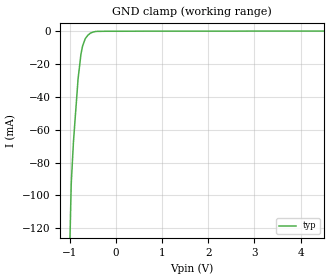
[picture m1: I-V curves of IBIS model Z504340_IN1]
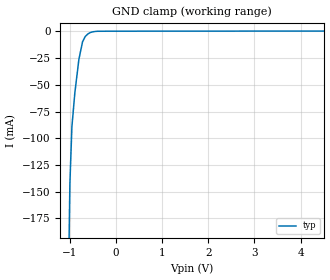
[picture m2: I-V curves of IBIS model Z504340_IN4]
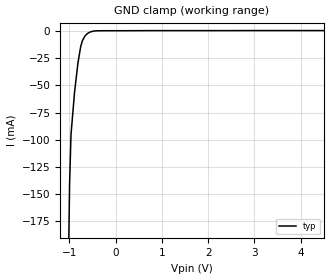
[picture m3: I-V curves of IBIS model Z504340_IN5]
| YOU ARE ONLY AUTHORIZED TO USE THIS SOFTWARE
| ACCORDING TO LICENSOR'S LICENSE RESTRICTIONS.
[IBIS Ver] 3.1
[File Name] mc74lcx16374dt.ibs
[File Rev] 2.0
[Source] Measured and created by ICX Technology
[Date] Friday 7/14/00 9:08:12 AM
[Copyright]
| (C) COPYRIGHT 1993-2000
| MENTOR GRAPHICS CORPORATION
| ICX STANDARD LIBRARY, ICX PROJECT MODELING,
| ICX CUSTOM MODELING, ICX VENDOR MODEL
| ALL RIGHTS RESERVED.
| THE FOLLOWING ARE TRADEMARKS OR SERVICE MARKS OF
| MENTOR GRAPHICS CORPORATION:ICX (R), ICX STANDARD
| LIBRARY(R), ICX PROJECT MODELING(R), ICX CUSTOM
| MODELING(R), qualityIBIS(TM), MODELVIEWER(TM),
| AND MODELEDITOR(TM)
| ALL COPIES OF SOFTWARE, INCLUDING BUT NOT LIMITED TO
| ANY MODIFICATIONS, ENHANCEMENTS OR DERIVATIVE WORKS,
| MUST CONTAIN ALL MENTOR GRAPHICS CORPORATION'S
| NOTICES AND LEGENDS, INCLUDING THOSE EMBEDDED IN
| SOFTWARE AND THOSE AFFIXED TO SOFTWARE MEDIUM
| AND CONTAINER, AS RECEIVED FROM MENTOR GRAPHICS
| CORPORATION.
|  ZAP Model Builder 2.7
[Component] MC74LCX16374DT
[Manufacturer] OnSemiconductor
[Package]
| variable   typ   min   max
R_pkg  .153ohms NA NA
L_pkg  2.946nH NA NA
C_pkg  .275pF NA NA
[Pin] signal_name  model_name  R_pin  L_pin C_pin
1 _1OE Z504340_IN1 .171 5.2n .49p
2 1Q1 Z504340_TRI2 .168 4.65n .44p
3 1Q2 Z504340_TRI2 .164 4.14n .39p
4 GND GND .161 3.64n .33p
5 1Q3 Z504340_TRI2 .158 3.17n .28p
6 1Q4 Z504340_TRI2 .155 2.63n .23p
7 VCC POWER .152 2.39n .22p
8 1Q5 Z504340_TRI2 .148 2.16n .21p
9 1Q6 Z504340_TRI2 .145 2.0n .2p
10 GND GND .142 1.87n .18p
11 1Q7 Z504340_TRI2 .139 1.75n .17p
12 1Q8 Z504340_TRI2 .136 1.75n .16p
13 2Q1 Z504340_TRI3 .136 1.75n .16p
14 2Q2 Z504340_TRI3 .139 1.75n .17p
15 GND GND .142 1.87n .18p
16 2Q3 Z504340_TRI3 .145 2.0n .2p
17 2Q4 Z504340_TRI3 .148 2.16n .21p
18 VCC POWER .152 2.39n .22p
19 2Q5 Z504340_TRI3 .155 2.63n .23p
20 2Q6 Z504340_TRI3 .158 3.17n .28p
21 GND GND .161 3.64n .33p
22 2Q7 Z504340_TRI3 .164 4.14n .39p
23 2Q8 Z504340_TRI3 .168 4.65n .44p
24 _2OE Z504340_IN4 .171 5.2n .49p
25 2CLK Z504340_IN5 .171 5.2n .49p
26 2D8 Z504340_IN6 .168 4.65n .44p
27 2D7 Z504340_IN6 .164 4.14n .39p
28 GND GND .161 3.64n .33p
29 2D6 Z504340_IN6 .158 3.17n .28p
30 2D5 Z504340_IN6 .155 2.63n .23p
31 VCC POWER .152 2.39n .22p
32 2D4 Z504340_IN6 .148 2.16n .21p
33 2D3 Z504340_IN6 .145 2.0n .2p
34 GND GND .142 1.87n .18p
35 2D2 Z504340_IN6 .139 1.75n .17p
36 2D1 Z504340_IN6 .136 1.75n .16p
37 1D8 Z504340_IN7 .136 1.75n .16p
38 1D7 Z504340_IN7 .139 1.75n .17p
39 GND GND .142 1.87n .18p
40 1D6 Z504340_IN7 .145 2.0n .2p
41 1D5 Z504340_IN7 .148 2.16n .21p
42 VCC POWER .152 2.39n .22p
43 1D4 Z504340_IN7 .155 2.63n .23p
44 1D3 Z504340_IN7 .158 3.17n .28p
45 GND GND .161 3.64n .33p
46 1D2 Z504340_IN7 .164 4.14n .39p
47 1D1 Z504340_IN7 .168 4.65n .44p
48 1CLK Z504340_IN8 .171 5.2n .49p
| Models and submodels in the file (8): Z504340_IN1 (Input), Z504340_IN4 (Input), Z504340_IN5 (Input), Z504340_IN6 (Input), Z504340_IN7 (Input), Z504340_IN8 (Input), Z504340_TRI2 (3-state), Z504340_TRI3 (3-state)
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| (C) COPYRIGHT 1993-2000
| MENTOR GRAPHICS CORPORATION
| ICX STANDARD LIBRARY, ICX PROJECT MODELING,
| ICX CUSTOM MODELING, ICX VENDOR MODEL
| ALL RIGHTS RESERVED.
| THE FOLLOWING ARE TRADEMARKS OR SERVICE MARKS OF
| MENTOR GRAPHICS CORPORATION:ICX (R), ICX STANDARD
| LIBRARY(R), ICX PROJECT MODELING(R), ICX CUSTOM
| MODELING(R), qualityIBIS(TM), MODELVIEWER(TM),
| AND MODELEDITOR(TM)
| ALL COPIES OF SOFTWARE, INCLUDING BUT NOT LIMITED TO
| ANY MODIFICATIONS, ENHANCEMENTS OR DERIVATIVE WORKS,
| MUST CONTAIN ALL MENTOR GRAPHICS CORPORATION'S
| NOTICES AND LEGENDS, INCLUDING THOSE EMBEDDED IN
| SOFTWARE AND THOSE AFFIXED TO SOFTWARE MEDIUM
| AND CONTAINER, AS RECEIVED FROM MENTOR GRAPHICS
| CORPORATION.
| Model Application Version 1.89 2/18/99.
[Model] Z504340_IN1
Model_type Input
Vinl = 800.0mV
Vinh = 2.000V
C_comp 4.000pF NA NA
| variable typ   min   max
[Voltage Range] 3.300V NA NA
[GND Clamp Reference] 0.000V NA NA
[POWER Clamp Reference] 3.300V NA NA
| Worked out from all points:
|   GND clamp passes 1 mA (typ) near -0.55 V on its own axis
[GND Clamp]
-3.3V     -2.139A    NA         NA
-1.002V   -136.5mA   NA         NA
-966.8mV  -93.19mA   NA         NA
-917.9mV  -67.07mA   NA         NA
-818.2mV  -28.86mA   NA         NA
-756.7mV  -14mA      NA         NA
-722.7mV  -9.064mA   NA         NA
-664.1mV  -4.477mA   NA         NA
-550.8mV  -1.012mA   NA         NA
-429.7mV  20.1uA     NA         NA
-214.8mV  122.2uA    NA         NA
6.6V      226.2uA    NA         NA
[POWER Clamp]
-3.3V     0A         NA         NA
6.6V      0A         NA         NA
| (C) COPYRIGHT 1993-2000
| MENTOR GRAPHICS CORPORATION
| ICX STANDARD LIBRARY, ICX PROJECT MODELING,
| ICX CUSTOM MODELING, ICX VENDOR MODEL
| ALL RIGHTS RESERVED.
| THE FOLLOWING ARE TRADEMARKS OR SERVICE MARKS OF
| MENTOR GRAPHICS CORPORATION:ICX (R), ICX STANDARD
| LIBRARY(R), ICX PROJECT MODELING(R), ICX CUSTOM
| MODELING(R), qualityIBIS(TM), MODELVIEWER(TM),
| AND MODELEDITOR(TM)
| ALL COPIES OF SOFTWARE, INCLUDING BUT NOT LIMITED TO
| ANY MODIFICATIONS, ENHANCEMENTS OR DERIVATIVE WORKS,
| MUST CONTAIN ALL MENTOR GRAPHICS CORPORATION'S
| NOTICES AND LEGENDS, INCLUDING THOSE EMBEDDED IN
| SOFTWARE AND THOSE AFFIXED TO SOFTWARE MEDIUM
| AND CONTAINER, AS RECEIVED FROM MENTOR GRAPHICS
| CORPORATION.
| Model Application Version 1.89 2/18/99.
[Model] Z504340_IN4
Model_type Input
Vinl = 800.0mV
Vinh = 2.000V
C_comp 4.000pF NA NA
| variable typ   min   max
[Voltage Range] 3.300V NA NA
[GND Clamp Reference] 0.000V NA NA
[POWER Clamp Reference] 3.300V NA NA
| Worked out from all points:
|   GND clamp passes 1 mA (typ) near -0.55 V on its own axis
[GND Clamp]
-3.3V     -2.081A    NA         NA
-1.041V   -279.3mA   NA         NA
-995.9mV  -142.9mA   NA         NA
-952.1mV  -89.21mA   NA         NA
-888.6mV  -57.61mA   NA         NA
-800.7mV  -26.18mA   NA         NA
-722.1mV  -9.854mA   NA         NA
-663.8mV  -4.868mA   NA         NA
-550.5mV  -1.054mA   NA         NA
-410.2mV  55.5uA     NA         NA
-205.1mV  117.2uA    NA         NA
6.6V      246.7uA    NA         NA
[POWER Clamp]
-3.3V     0A         NA         NA
6.6V      0A         NA         NA
| (C) COPYRIGHT 1993-2000
| MENTOR GRAPHICS CORPORATION
| ICX STANDARD LIBRARY, ICX PROJECT MODELING,
| ICX CUSTOM MODELING, ICX VENDOR MODEL
| ALL RIGHTS RESERVED.
| THE FOLLOWING ARE TRADEMARKS OR SERVICE MARKS OF
| MENTOR GRAPHICS CORPORATION:ICX (R), ICX STANDARD
| LIBRARY(R), ICX PROJECT MODELING(R), ICX CUSTOM
| MODELING(R), qualityIBIS(TM), MODELVIEWER(TM),
| AND MODELEDITOR(TM)
| ALL COPIES OF SOFTWARE, INCLUDING BUT NOT LIMITED TO
| ANY MODIFICATIONS, ENHANCEMENTS OR DERIVATIVE WORKS,
| MUST CONTAIN ALL MENTOR GRAPHICS CORPORATION'S
| NOTICES AND LEGENDS, INCLUDING THOSE EMBEDDED IN
| SOFTWARE AND THOSE AFFIXED TO SOFTWARE MEDIUM
| AND CONTAINER, AS RECEIVED FROM MENTOR GRAPHICS
| CORPORATION.
| Model Application Version 1.89 2/18/99.
[Model] Z504340_IN5
Model_type Input
Vinl = 800.0mV
Vinh = 2.000V
C_comp 4.000pF NA NA
| variable typ   min   max
[Voltage Range] 3.300V NA NA
[GND Clamp Reference] 0.000V NA NA
[POWER Clamp Reference] 3.300V NA NA
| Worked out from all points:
|   GND clamp passes 1 mA (typ) near -0.55 V on its own axis
[GND Clamp]
-3.3V     -2.083A    NA         NA
-1.042V   -279.3mA   NA         NA
-996.1mV  -141mA     NA         NA
-965.8mV  -95.62mA   NA         NA
-888.7mV  -56.42mA   NA         NA
-815.7mV  -29.71mA   NA         NA
-756mV    -14.56mA   NA         NA
-722.4mV  -9.454mA   NA         NA
-663.9mV  -4.724mA   NA         NA
-549.9mV  -1.036mA   NA         NA
-214.8mV  102.5uA    NA         NA
6.6V      232.4uA    NA         NA
[POWER Clamp]
-3.3V     0A         NA         NA
6.6V      0A         NA         NA
